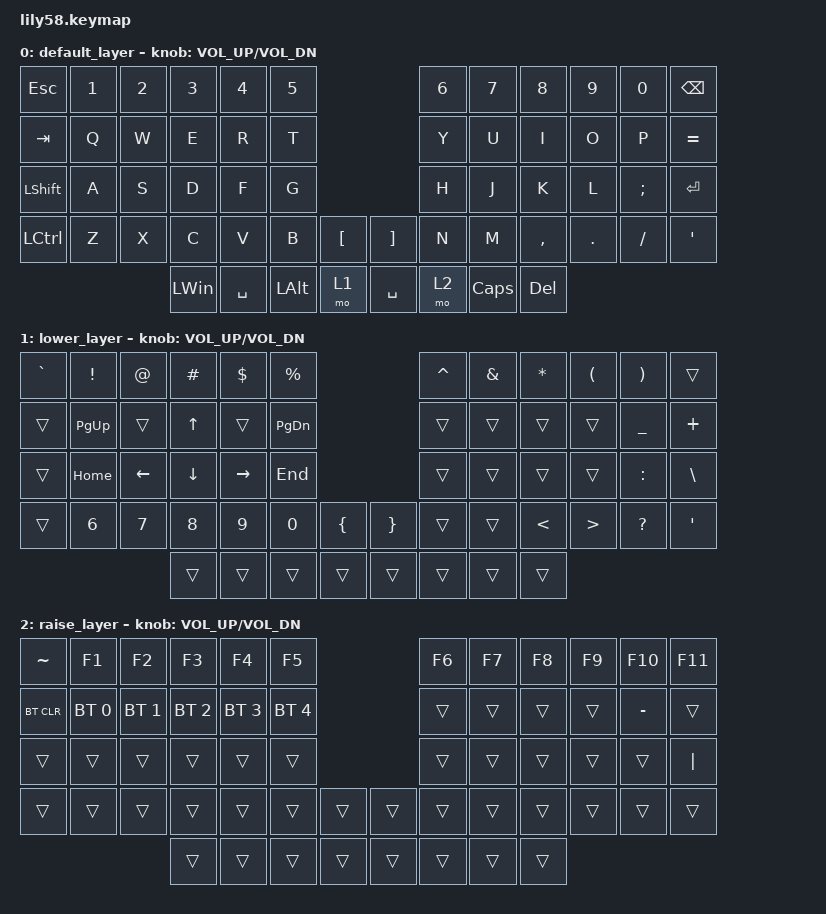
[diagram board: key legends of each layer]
/*
 * Copyright (c) 2020 The ZMK Contributors
 *
 * SPDX-License-Identifier: MIT
 */

#include <behaviors.dtsi>
#include <dt-bindings/zmk/bt.h>
#include <dt-bindings/zmk/ext_power.h>
#include <dt-bindings/zmk/keys.h>

/ {
    keymap {
        compatible = "zmk,keymap";

        default_layer {
            // ------------------------------------------------------------------------------------------------------------
            // |  ESC  |  1  |  2  |  3   |  4   |  5   |                    |  6   |  7       |  8    |  9   |   0   |   BACKSPACE |
            // |  TAB  |  Q  |  W  |  E   |  R   |  T   |                    |  Y   |  U       |  I    |  O   |   P   |   =   |
            // | SHIFT |  A  |  S  |  D   |  F   |  G   |                    |  H   |  J       |  K    |  L   |   ;   | ENTER |
            // |  CTRL |  Z  |  X  |  C   |  V   |  B   |   "["  |   |  "]"  |  N   |  M       |  ,    |  .   |   /   |  '    |
            //                     |  GUI | SPACE| ALT|  Lower |   | SPACE | RAISE| CAPSLOCK |  DEL  |

            bindings = <
&kp ESC         &kp N1  &kp N2  &kp N3        &kp N4       &kp N5                              &kp N6     &kp N7          &kp N8     &kp N9   &kp N0    &kp BACKSPACE
&kp TAB         &kp Q   &kp W   &kp E         &kp R        &kp T                               &kp Y      &kp U           &kp I      &kp O    &kp P     &kp EQUAL
&kp LEFT_SHIFT  &kp A   &kp S   &kp D         &kp F        &kp G                               &kp H      &kp J           &kp K      &kp L    &kp SEMI  &kp ENTER
&kp LCTRL       &kp Z   &kp X   &kp C         &kp V        &kp B      &kp LBKT     &kp RBKT    &kp N      &kp M           &kp COMMA  &kp DOT  &kp FSLH  &kp SQT
                                &kp LEFT_WIN  &kp SPACE &kp LEFT_ALT  &mo 1        &kp SPACE   &mo 2      &kp CAPSLOCK   &kp DEL
            >;

            sensor-bindings = <&inc_dec_kp C_VOL_UP C_VOL_DN>;
        };

        lower_layer {
            // ------------------------------------------------------------------------------------------------------------
            // |   `   |  !  |  @  |  #   |  $   |  %   |                   |  ^   |  &    |  *    |  (   |   )   |       |
            // |       |PAGE_UP|   |  ^   | PAGE_DOWN|  |                   |      |       |       |      |   _   |   +   |
            // |       |HOME |  <- |   v  |  ->  |  END |                   |      |       |       |      |   :   |   \   |
            // |       |     |     |      |      |      |   {  |     |   }  |      |       |  <    |  >   |   ?   |    "  |
            //                     |      |      |      |      |     |      |      |       |       |

            bindings = <
&kp GRAVE   &kp EXCL    &kp AT     &kp HASH     &kp DOLLAR    &kp PRCNT                         &kp CARET  &kp AMPS   &kp ASTRK  &kp LPAR   &kp RPAR   &trans
&trans      &kp PG_UP   &trans     &kp UP       &trans        &kp PG_DN                            &trans     &trans     &trans     &trans     &kp UNDER  &kp PLUS
&trans      &kp HOME    &kp LEFT   &kp DOWN     &kp RIGHT     &kp END                           &trans     &trans     &trans     &trans     &kp COLON  &kp BSLH
&trans      &kp N6      &kp N7     &kp N8       &kp N9        &kp N0    &kp LBRC     &kp RBRC   &trans     &trans     &kp LT     &kp GT     &kp QMARK  &kp APOS
                                   &trans       &trans        &trans    &trans       &trans     &trans     &trans     &trans     
            >;

            sensor-bindings = <&inc_dec_kp C_VOL_UP C_VOL_DN>;
        };

        raise_layer {
            // ------------------------------------------------------------------------------------------------------------
            // |   ~   |  F1 |  F2 |  F3  |  F4  |  F5  |                   |   F6 |  F7   |  F8   |  F9  |  F10  |  F11  |
            // | BTCLR | BT1 | BT2 | BT3  |  BT4 |  BT5 |                   |      |       |       |      |   -   |       |
            // |       |     |     |      |      |      |                   |      |       |       |      |       |  "|"  |
            // |       |     |     |      |      |      |      |      |     |      |       |       |      |       |       |
            //                     |      |      |      |      |      |     |      |       |       |

            bindings = <
&kp TILDE       &kp F1        &kp F2        &kp F3        &kp F4        &kp F5                       &kp F6     &kp F7    &kp F8   &kp F9   &kp F10    &kp F11
&bt BT_CLR      &bt BT_SEL 0  &bt BT_SEL 1  &bt BT_SEL 2  &bt BT_SEL 3  &bt BT_SEL 4                 &trans     &trans    &trans   &trans   &kp MINUS  &trans 
&trans          &trans        &trans        &trans        &trans        &trans                       &trans     &trans    &trans   &trans   &trans     &kp PIPE
&trans          &trans        &trans        &trans        &trans        &trans    &trans    &trans   &trans     &trans    &trans   &trans   &trans     &trans
                                            &trans        &trans        &trans    &trans    &trans   &trans     &trans    &trans
            >;

            sensor-bindings = <&inc_dec_kp C_VOL_UP C_VOL_DN>;
        };
    };
};
